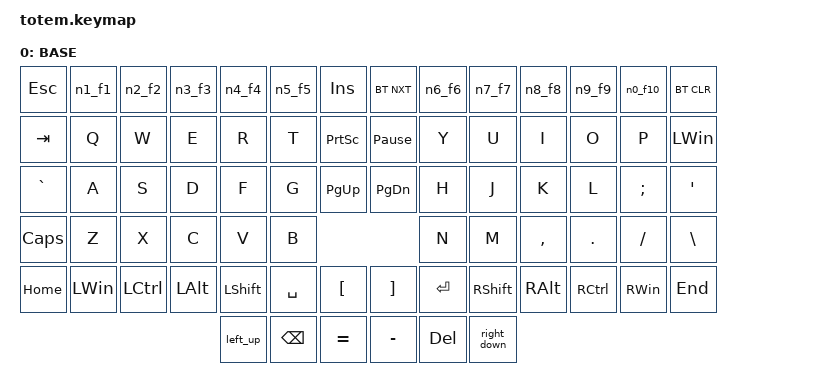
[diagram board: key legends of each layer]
#include <behaviors.dtsi>
#include <dt-bindings/zmk/keys.h>
#include <dt-bindings/zmk/bt.h>
#include <dt-bindings/zmk/outputs.h>

#define BASE 0

&mt {
  quick-tap-ms = <100>;
  global-quick-tap;
  flavor = "tap-preferred";
  tapping-term-ms = <170>;
};

/ {
    combos {
            compatible = "zmk,combos";
            combo_esc {
                timeout-ms = <50>;
                key-positions = <0 1>;
                bindings = <&kp ESC>;
            };
    };

    macros {
        gif: gif {
            label = "giphy";
            compatible = "zmk,behavior-macro";
            #binding-cells = <0>;
            bindings
                = <&macro_press &kp LSHFT>
                , <&macro_tap &kp N2>
                , <&macro_release &kp LSHFT>
                , <&macro_tap &kp G &kp I &kp F>
                ;
        };
    };

    behaviors {
        right_down: right_arrow_down_arrow {
            compatible = "zmk,behavior-mod-morph";
            label = "RIGHT_ARROW_DOWN_ARROW";
            #binding-cells = <0>;
            bindings = <&kp RIGHT_ARROW>, <&kp DOWN_ARROW>;
            mods = <(MOD_LSFT|MOD_RSFT)>;
        };
        left_up: left_arrow_up_arrow {
            compatible = "zmk,behavior-mod-morph";
            label = "LEFT_ARROW_UP_ARROW";
            #binding-cells = <0>;
            bindings = <&kp LEFT_ARROW>, <&kp UP_ARROW>;
            mods = <(MOD_LSFT|MOD_RSFT)>;
        };
        n1_f1: kp_n1_kp_f1 {
          compatible = "zmk,behavior-mod-morph";
          label = "KP_N1_KP_F1";
          #binding-cells = <0>;
          bindings = <&kp N1>, <&kp F1>;
         mods = <(MOD_LCTL|MOD_RCTL)>;
        };
        n2_f2: kp_n2_kp_f2 {
          compatible = "zmk,behavior-mod-morph";
          label = "KP_N2_KP_F2";
          #binding-cells = <0>;
          bindings = <&kp N2>, <&kp F2>;
         mods = <(MOD_LCTL|MOD_RCTL)>;
        };
        n3_f3: kp_n3_kp_f3 {
          compatible = "zmk,behavior-mod-morph";
          label = "KP_N3_KP_F3";
          #binding-cells = <0>;
          bindings = <&kp N3>, <&kp F3>;
         mods = <(MOD_LCTL|MOD_RCTL)>;
        };
        n4_f4: kp_n4_kp_f4 {
          compatible = "zmk,behavior-mod-morph";
          label = "KP_N4_KP_F4";
          #binding-cells = <0>;
          bindings = <&kp N4>, <&kp F4>;
         mods = <(MOD_LCTL|MOD_RCTL)>;
        };
        n5_f5: kp_n5_kp_f5 {
          compatible = "zmk,behavior-mod-morph";
          label = "KP_N5_KP_F5";
          #binding-cells = <0>;
          bindings = <&kp N5>, <&kp F5>;
         mods = <(MOD_LCTL|MOD_RCTL)>;
        };
        n6_f6: kp_n6_kp_f6 {
          compatible = "zmk,behavior-mod-morph";
          label = "KP_N6_KP_F6";
          #binding-cells = <0>;
          bindings = <&kp N6>, <&kp F6>;
         mods = <(MOD_LCTL|MOD_RCTL)>;
        };
        n7_f7: kp_n7_kp_f7 {
          compatible = "zmk,behavior-mod-morph";
          label = "KP_N7_KP_F7";
          #binding-cells = <0>;
          bindings = <&kp N7>, <&kp F7>;
         mods = <(MOD_LCTL|MOD_RCTL)>;
        };
        n8_f8: kp_n8_kp_f8 {
          compatible = "zmk,behavior-mod-morph";
          label = "KP_N8_KP_F8";
          #binding-cells = <0>;
          bindings = <&kp N8>, <&kp F8>;
         mods = <(MOD_LCTL|MOD_RCTL)>;
        };
        n9_f9: kp_n9_kp_f9 {
          compatible = "zmk,behavior-mod-morph";
          label = "KP_N9_KP_F9";
          #binding-cells = <0>;
          bindings = <&kp N9>, <&kp F9>;
         mods = <(MOD_LCTL|MOD_RCTL)>;
        };
        n0_f10: kp_n0_kp_f10 {
          compatible = "zmk,behavior-mod-morph";
          label = "KP_N0_KP_F10";
          #binding-cells = <0>;
          bindings = <&kp N0>, <&kp F10>;
         mods = <(MOD_LCTL|MOD_RCTL)>;
        };
    };

        keymap {
                compatible = "zmk,keymap";
// ▄▄▄▄▄▄▄▄▄▄▄▄▄▄▄▄▄▄▄▄▄▄▄▄▄▄▄▄▄▄▄▄▄▄▄▄▄▄▄▄▄▄▄▄▄▄▄▄▄▄▄▄▄▄▄▄▄▄▄▄▄▄▄▄▄▄▄▄▄▄▄▄▄▄▄▄▄▄▄▄▄▄▄▄▄▄▄▄▄▄▄▄▄▄▄▄▄▄▄▄▄▄▄▄▄▄▄▄▄▄▄▄▄▄▄▄▄▄▄▄▄▄▄▄▄▄▄▄▄▄▄▄▄▄▄▄▄▄▄▄▄▄▄▄▄▄▄▄▄

                base_layer {
// ┏━━━━━━━━━━━━━━━━━━━━━━━━━━━━━━━━━━━━━━━┓
label= "BASE"                              ;
// ┗━━━━━━━━━━━━━━━━━━━━━━━━━━━━━━━━━━━━━━━┛
//
//
//
//
//
//
// ┏━━━━━━━━━━━╋━━━━━━━━━━━┳━━━━━━━━━━━┳━━━━━━━━━━━┳━━━━━━━━━━━┳━━━━━━━━━━━┳━━━━━━━━━━━┓   ┏━━━━━━━━━━━┳━━━━━━━━━━━┳━━━━━━━━━━━┳━━━━━━━━━━━┳━━━━━━━━━━━┳━━━━━━━━━━━┳━━━━━━━━━━━┓
// ┃    esc    ┃    1 !    ┃    2 @    ┃    3 #    ┃    4 $    ┃    5 %    ┃   Insrt   ┃   ┃   BT_N    ┃    6 ^    ┃    7 &    ┃    8 *    ┃    9 (    ┃    0 )    ┃   BT_CL   ┃
// ┣━━━━━━━━━━━╋━━━━━━━━━━━╋━━━━━━━━━━━╋━━━━━━━━━━━╋━━━━━━━━━━━╋━━━━━━━━━━━┫━━━━━━━━━━━┫   ┣━━━━━━━━━━━╋━━━━━━━━━━━╋━━━━━━━━━━━╋━━━━━━━━━━━╋━━━━━━━━━━━╋━━━━━━━━━━━╋━━━━━━━━━━━┫
// ┃     Tab   ┃     Q     ┃     W     ┃     E     ┃     R     ┃     T     ┃  Prnt Scr ┃   ┃   Break   ┃     Y     ┃     U     ┃     I     ┃     O     ┃     P     ┃           ┃
// ┣━━━━━━━━━━━╋━━━━━━━━━━━╋━━━━━━━━━━━╋━━━━━━━━━━━╋━━━━━━━━━━━╋━━━━━━━━━━━┫━━━━━━━━━━━┫   ┣━━━━━━━━━━━╋━━━━━━━━━━━╋━━━━━━━━━━━╋━━━━━━━━━━━╋━━━━━━━━━━━╋━━━━━━━━━━━╋━━━━━━━━━━━┫
// ┃     `~    ┃     A     ┃     S     ┃     D     ┃     F     ┃     G     ┃   Pg Up   ┃   ┃  Pg down  ┃     H     ┃     J     ┃     K     ┃     L     ┃     ;:    ┃    '"     ┃
// ┣━━━━━━━━━━━╋━━━━━━━━━━━╋━━━━━━━━━━━╋━━━━━━━━━━━╋━━━━━━━━━━━╋━━━━━━━━━━━┫━━━━━━━━━━━┛   ┗━━━━━━━━━━━╋━━━━━━━━━━━╋━━━━━━━━━━━╋━━━━━━━━━━━╋━━━━━━━━━━━╋━━━━━━━━━━━╋━━━━━━━━━━━┫
// ┃    caps   ┃     Z     ┃     X     ┃     C     ┃     V     ┃     B     ┃                           ┃     N     ┃     M     ┃    <,     ┃    >.     ┃      ?/   ┃    \|     ┃
// ┣━━━━━━━━━━━╋━━━━━━━━━━━╋━━━━━━━━━━━╋━━━━━━━━━━━╋━━━━━━━━━━━┻━━━━━━━━━━━┛                           ┗━━━━━━━━━━━┻━━━━━━━━━━━╋━━━━━━━━━━━╋━━━━━━━━━━━╋━━━━━━━━━━━╋━━━━━━━━━━━┫
// ┃    home   ┃    Win    ┃     Ctrl  ┃     Alt   ┃                                                                           ┃     Alt   ┃    Ctrl   ┃    Win    ┃    end    ┃
// ┗━━━━━━━━━━━┻━━━━━━━━━━━┻━━━━━━━━━━━┻━━━━━━━━━━━╋━━━━━━━━━━━┳━━━━━━━━━━━┳━━━━━━━━━━━┓   ┏━━━━━━━━━━━┳━━━━━━━━━━━┳━━━━━━━━━━━╋━━━━━━━━━━━┻━━━━━━━━━━━┻━━━━━━━━━━━┻━━━━━━━━━━━┛
//                                                 ┃   Shift   ┃   "    "  ┃     [{    ┃   ┃     ]}    ┃  Enter    ┃ Shift     ┃
//                                                 ┣━━━━━━━━━━━╋━━━━━━━━━━━┫━━━━━━━━━━━┫   ┣━━━━━━━━━━━╋━━━━━━━━━━━╋━━━━━━━━━━━┫
//                                                 ┃ left/up   ┃    bcksp  ┃      + =  ┃   ┃   - _     ┃     del   ┃right/down ┃
//                                                 ┗━━━━━━━━━━━┻━━━━━━━━━━━┻━━━━━━━━━━━┛   ┗━━━━━━━━━━━┻━━━━━━━━━━━┻━━━━━━━━━━━┛
 bindings = <
// ╷           ╷           ╷           ╷           ╷           ╷           ╷           ╷   ╷           ╷           ╷           ╷           ╷           ╷           ╷           ╷

    &kp ESC    &n1_f1       &n2_f2   	&n3_f3  	&n4_f4  	&n5_f5  	&kp INS         &bt BT_NXT	&n6_f6      &n7_f7     &n8_f8	    &n9_f9	    &n0_f10	    &bt BT_CLR
	&kp TAB    &kp Q	    &kp W	    &kp E    	&kp R	    &kp T    	&kp PSCRN	&kp PAUSE_BREAK &kp Y   	&kp U	    &kp I	    &kp  O	    &kp P   	&kp LWIN
	&kp GRAVE  &kp A	    &kp S	    &kp D	    &kp F	    &kp G	    &kp PG_UP		&kp PG_DN  	&kp H	    &kp J	    &kp  K	    &kp L	    &kp SEMI	&kp SQT
    &kp CAPS   &kp Z	    &kp X	    &kp C	    &kp V	    &kp B			                    	&kp N	    &kp M   	&kp COMMA	&kp DOT  	&kp SLASH   &kp BSLH
    &kp HOME   &kp LWIN     &kp LCTRL   &kp LALT    &kp LSHFT	&kp SPACE	&kp LBKT		&kp RBKT    &kp ENTER	&kp RSHFT   &kp RALT    &kp RCTRL   &kp RWIN    &kp END
			                                        &left_up    &kp BSPC	&kp EQUAL       &kp MINUS   &kp DEL 	&right_down
                        >;
                };
// ▄▄▄▄▄▄▄▄▄▄▄▄▄▄▄▄▄▄▄▄▄▄▄▄▄▄▄▄▄▄▄▄▄▄▄▄▄▄▄▄▄▄▄▄▄▄▄▄▄▄▄▄▄▄▄▄▄▄▄▄▄▄▄▄▄▄▄▄▄▄▄▄▄▄▄▄▄▄▄▄▄▄▄▄▄▄▄▄▄▄▄▄▄▄▄▄▄▄▄▄▄▄▄▄▄▄▄▄▄▄▄▄▄▄▄▄▄▄▄▄▄▄▄▄▄▄▄▄▄▄▄▄▄▄▄▄▄▄▄▄▄▄▄▄▄▄▄▄▄
        };
};
